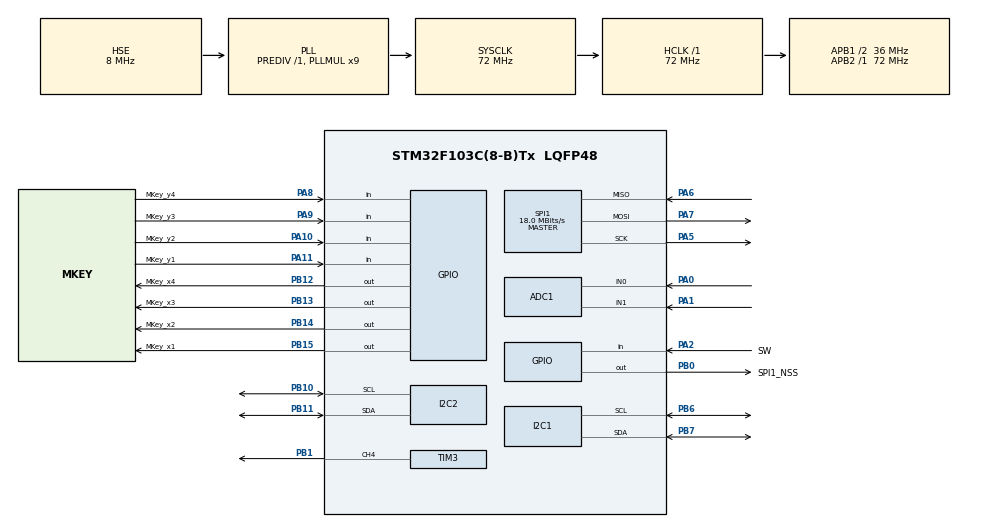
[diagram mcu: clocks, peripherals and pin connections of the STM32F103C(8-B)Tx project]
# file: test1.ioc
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ADC1.Channel-0\#ChannelRegularConversion=ADC_CHANNEL_0
ADC1.Channel-1\#ChannelRegularConversion=ADC_CHANNEL_1
ADC1.ContinuousConvMode=DISABLE
ADC1.NbrOfConversion=2
ADC1.NbrOfConversionFlag=1
ADC1.Rank-0\#ChannelRegularConversion=1
ADC1.Rank-1\#ChannelRegularConversion=2
ADC1.SamplingTime-0\#ChannelRegularConversion=ADC_SAMPLETIME_1CYCLE_5
ADC1.SamplingTime-1\#ChannelRegularConversion=ADC_SAMPLETIME_1CYCLE_5
ADC1.master=1
DMA1.0.Channel=DMA_CHANNEL_1
DMA1.0.Direction=DMA_PERIPH_TO_MEMORY
DMA1.0.FIFOMode=DMA_FIFOMODE_DISABLE
DMA1.0.MemDataAlignment=DMA_MDATAALIGN_WORD
DMA1.0.MemInc=DMA_MINC_ENABLE
DMA1.0.Mode=DMA_NORMAL
DMA1.0.PeriphDataAlignment=DMA_PDATAALIGN_WORD
DMA1.0.PeriphInc=DMA_PINC_DISABLE
DMA1.0.Priority=DMA_PRIORITY_HIGH
FREERTOS.CHECK_FOR_STACK_OVERFLOW=2
FREERTOS.Queues01=cursor,4,6,1,Dynamic,NULL,NULL;Key,1,uint8_t,0,Dynamic,NULL,NULL;LogQueue,8,18,1,Dynamic,NULL,NULL
FREERTOS.Tasks01=LockApp,24,128,StartLockTask,Default,NULL,Dynamic,NULL,NULL;oled,8,192,Oled_Task,Default,NULL,Dynamic,NULL,NULL;Sw_Adc,9,128,Sw_Adc_Task,Default,NULL,Dynamic,NULL,NULL;MKey,9,128,MKey_Task,Default,NULL,Dynamic,NULL,NULL;Log,9,128,Log_Task,Default,NULL,Dynamic,NULL,NULL;App_File,8,128,App_File_Task,Default,NULL,Dynamic,NULL,NULL;MusicPlay,8,128,MusicPlay_Task,Default,NULL,Dynamic,NULL,NULL
FREERTOS.configTOTAL_HEAP_SIZE=6500
FREERTOS.USE_MALLOC_FAILED_HOOK=1
FREERTOS.USE_TICKLESS_IDLE=ENABLE
I2C1.I2C_Mode=I2C_Fast
IWDG.Prescaler=64
IWDG.Reload=1250
Mcu.Family=STM32F1
Mcu.Name=STM32F103C(8-B)Tx
Mcu.Package=LQFP48
NVIC.PriorityGroup=NVIC_PRIORITYGROUP_4
NVIC.TIM4_IRQn=true\:15\:0\:false\:false\:true\:false\:false\:true\:true
NVIC.TimeBase=TIM4_IRQn
NVIC.TimeBaseIP=TIM4
PA0-WKUP.Signal=ADCx_IN0
PA1.Signal=ADCx_IN1
PA10.GPIO_Label=MKey_y2
PA10.GPIO_PuPd=GPIO_PULLUP
PA10.Signal=GPIO_Input
PA11.GPIO_Label=MKey_y1
PA11.GPIO_PuPd=GPIO_PULLUP
PA11.Signal=GPIO_Input
PA13.Mode=Serial_Wire
PA13.Signal=SYS_JTMS-SWDIO
PA14.Mode=Serial_Wire
PA14.Signal=SYS_JTCK-SWCLK
PA2.GPIO_Label=SW
PA2.GPIO_PuPd=GPIO_PULLUP
PA2.Signal=GPIO_Input
PA5.Mode=Full_Duplex_Master
PA5.Signal=SPI1_SCK
PA6.Mode=Full_Duplex_Master
PA6.Signal=SPI1_MISO
PA7.Mode=Full_Duplex_Master
PA7.Signal=SPI1_MOSI
PA8.GPIO_Label=MKey_y4
PA8.GPIO_PuPd=GPIO_PULLUP
PA8.Signal=GPIO_Input
PA9.GPIO_Label=MKey_y3
PA9.GPIO_PuPd=GPIO_PULLUP
PA9.Signal=GPIO_Input
PB0.GPIO_Label=SPI1_NSS
PB0.GPIO_PuPd=GPIO_PULLUP
PB0.PinState=GPIO_PIN_SET
PB0.Signal=GPIO_Output
PB1.Signal=S_TIM3_CH4
PB10.Mode=I2C
PB10.Signal=I2C2_SCL
PB11.Mode=I2C
PB11.Signal=I2C2_SDA
PB12.GPIO_Label=MKey_x4
PB12.PinState=GPIO_PIN_SET
PB12.Signal=GPIO_Output
PB13.GPIO_Label=MKey_x3
PB13.PinState=GPIO_PIN_SET
PB13.Signal=GPIO_Output
PB14.GPIO_Label=MKey_x2
PB14.PinState=GPIO_PIN_SET
PB14.Signal=GPIO_Output
PB15.GPIO_Label=MKey_x1
PB15.PinState=GPIO_PIN_SET
PB15.Signal=GPIO_Output
PB6.Mode=I2C
PB6.Signal=I2C1_SCL
PB7.Mode=I2C
PB7.Signal=I2C1_SDA
PD0-OSC_IN.Mode=HSE-External-Oscillator
PD0-OSC_IN.Signal=RCC_OSC_IN
PD1-OSC_OUT.Mode=HSE-External-Oscillator
PD1-OSC_OUT.Signal=RCC_OSC_OUT
ProjectManager.HeapSize=0x200
ProjectManager.StackSize=0x400
ProjectManager.TargetToolchain=CMake
RCC.ADCPresc=RCC_ADCPCLK2_DIV6
RCC.AHBFreq_Value=72000000
RCC.APB1CLKDivider=RCC_HCLK_DIV2
RCC.APB1Freq_Value=36000000
RCC.APB1TimFreq_Value=72000000
RCC.APB2Freq_Value=72000000
RCC.APB2TimFreq_Value=72000000
RCC.HCLKFreq_Value=72000000
RCC.PLLMUL=RCC_PLL_MUL9
RCC.PLLSourceVirtual=RCC_PLLSOURCE_HSE
RCC.SYSCLKFreq_VALUE=72000000
RCC.SYSCLKSource=RCC_SYSCLKSOURCE_PLLCLK
RCC.USBFreq_Value=72000000
SH.ADCx_IN0.0=ADC1_IN0,IN0
SH.ADCx_IN1.0=ADC1_IN1,IN1
SH.S_TIM3_CH4.0=TIM3_CH4,PWM Generation4 CH4
SPI1.BaudRatePrescaler=SPI_BAUDRATEPRESCALER_4
SPI1.CLKPhase=SPI_PHASE_2EDGE
SPI1.CLKPolarity=SPI_POLARITY_HIGH
SPI1.CalculateBaudRate=18.0 MBits/s
SPI1.Direction=SPI_DIRECTION_2LINES
SPI1.Mode=SPI_MODE_MASTER
SPI1.VirtualType=VM_MASTER
TIM3.AutoReloadPreload=TIM_AUTORELOAD_PRELOAD_ENABLE
TIM3.Channel-PWM\ Generation4\ CH4=TIM_CHANNEL_4
TIM3.Period=3816
TIM3.Prescaler=71
TIM3.Pulse-PWM\ Generation4\ CH4=1908
VP_FREERTOS_VS_CMSIS_V2.Mode=CMSIS_V2
VP_SYS_VS_tim4.Mode=TIM4
VP_TIM3_VS_ClockSourceINT.Mode=Internal
board=custom

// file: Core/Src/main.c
/* USER CODE BEGIN Header */
/**
  ******************************************************************************
  * @file           : main.c
  * @brief          : Main program body
  ******************************************************************************
  * @attention
  *
  * Copyright (c) 2026 STMicroelectronics.
  * All rights reserved.
  *
  * This software is licensed under terms that can be found in the LICENSE file
  * in the root directory of this software component.
  * If no LICENSE file comes with this software, it is provided AS-IS.
  *
  ******************************************************************************
  */
/* USER CODE END Header */
#include "main.h"
#include "cmsis_os.h"

/* USER CODE BEGIN Includes */
#include "oled.h"
#include "adc.h"
#include <stdint.h>
#include "Oled_App.h"
#include "Sw_Adc_App.h"
#include "MKey_App.h"
#include "File_App.h"
#include "Music_App.h"
#include "Set_App.h"
#include "Screen_App.h"
#include "Log_App.h"
#include "DS3231.h"

/* USER CODE END Includes */

/* USER CODE BEGIN PTD */
const osThreadAttr_t Watchdog_attributes = {
  .name = "Watchdog",
  .stack_size = 128 * 4,
  .priority = (osPriority_t) osPriorityAboveNormal,
};

/* USER CODE END PTD */

ADC_HandleTypeDef hadc1;
DMA_HandleTypeDef hdma_adc1;

I2C_HandleTypeDef hi2c1;
I2C_HandleTypeDef hi2c2;

SPI_HandleTypeDef hspi1;

TIM_HandleTypeDef htim3;

/* Definitions for LockApp */
osThreadId_t LockTaskHandle;
const osThreadAttr_t LockTask_attributes = {
  .name = "LockApp",
  .stack_size = 128 * 4,
  .priority = (osPriority_t) osPriorityNormal,
};
/* Definitions for oled */
osThreadId_t oledHandle;
const osThreadAttr_t oled_attributes = {
  .name = "oled",
  .stack_size = 192 * 4,
  .priority = (osPriority_t) osPriorityLow,
};
/* Definitions for Sw_Adc */
osThreadId_t Sw_AdcHandle;
const osThreadAttr_t Sw_Adc_attributes = {
  .name = "Sw_Adc",
  .stack_size = 128 * 4,
  .priority = (osPriority_t) osPriorityLow1,
};
/* Definitions for MKey */
osThreadId_t MKeyHandle;
const osThreadAttr_t MKey_attributes = {
  .name = "MKey",
  .stack_size = 128 * 4,
  .priority = (osPriority_t) osPriorityLow1,
};
/* Definitions for Log */
osThreadId_t LogHandle;
const osThreadAttr_t Log_attributes = {
  .name = "Log",
  .stack_size = 128 * 4,
  .priority = (osPriority_t) osPriorityLow1,
};
/* Definitions for App_File */
osThreadId_t App_FileHandle;
const osThreadAttr_t App_File_attributes = {
  .name = "App_File",
  .stack_size = 128 * 4,
  .priority = (osPriority_t) osPriorityLow,
};
/* Definitions for MusicPlay */
osThreadId_t MusicPlayHandle;
const osThreadAttr_t MusicPlay_attributes = {
  .name = "MusicPlay",
  .stack_size = 128 * 4,
  .priority = (osPriority_t) osPriorityLow,
};
/* Definitions for cursor */
osMessageQueueId_t cursorHandle;
const osMessageQueueAttr_t cursor_attributes = {
  .name = "cursor"
};
/* Definitions for Key */
osMessageQueueId_t KeyHandle;
const osMessageQueueAttr_t Key_attributes = {
  .name = "Key"
};
/* Definitions for LogQueue */
osMessageQueueId_t LogQueueHandle;
const osMessageQueueAttr_t LogQueue_attributes = {
  .name = "LogQueue"
};
/* USER CODE BEGIN PV */
osThreadId_t WatchdogHandle;
/* USER CODE END PV */

void SystemClock_Config(void);
static void MX_GPIO_Init(void);
static void MX_ADC1_Init(void);
static void MX_DMA_Init(void);
static void MX_I2C1_Init(void);
static void MX_SPI1_Init(void);
static void MX_TIM3_Init(void);
static void MX_I2C2_Init(void);
void StartLockTask(void *argument);
void Oled_Task(void *argument);
void Sw_Adc_Task(void *argument);
void MKey_Task(void *argument);
void Log_Task(void *argument);
void App_File_Task(void *argument);
void MusicPlay_Task(void *argument);

/* USER CODE BEGIN PFP */
void Watchdog_Task(void *argument);
/* USER CODE END PFP */

int main(void)
{

  /* MCU Configuration--------------------------------------------------------*/

  /* Reset of all peripherals, Initializes the Flash interface and the Systick. */
  HAL_Init();

  /* Configure the system clock */
  SystemClock_Config();

  /* Initialize all configured peripherals */
  MX_GPIO_Init();
  MX_DMA_Init();
  MX_ADC1_Init();
  MX_I2C1_Init();
  MX_SPI1_Init();
  MX_TIM3_Init();
  MX_I2C2_Init();
  /* USER CODE BEGIN 2 */
  DS3231_Init();
  Set_Sys_Load();
  OLED_Init();
  Set_Sys_ApplyBrightness();
  Set_Sys_ApplyVolume();
  Screen_Sys_Init();

  /* USER CODE END 2 */

  /* Init scheduler */
  osKernelInitialize();

  /* Create the queue(s) */
  /* creation of cursor */
  cursorHandle = osMessageQueueNew (4, 6, &cursor_attributes);

  /* creation of Key */
  KeyHandle = osMessageQueueNew (1, sizeof(uint8_t), &Key_attributes);

  /* creation of LogQueue */
  LogQueueHandle = osMessageQueueNew (8, 18, &LogQueue_attributes);

  /* Create the thread(s) */
  /* creation of LockApp */
  LockTaskHandle = osThreadNew(StartLockTask, NULL, &LockTask_attributes);

  /* creation of oled */
  oledHandle = osThreadNew(Oled_Task, NULL, &oled_attributes);

  /* creation of Sw_Adc */
  Sw_AdcHandle = osThreadNew(Sw_Adc_Task, NULL, &Sw_Adc_attributes);

  /* creation of MKey */
  MKeyHandle = osThreadNew(MKey_Task, NULL, &MKey_attributes);

  /* creation of Log */
  LogHandle = osThreadNew(Log_Task, NULL, &Log_attributes);

  /* creation of App_File */
  App_FileHandle = osThreadNew(App_File_Task, NULL, &App_File_attributes);

  /* creation of MusicPlay */
  MusicPlayHandle = osThreadNew(MusicPlay_Task, NULL, &MusicPlay_attributes);

  /* USER CODE BEGIN RTOS_THREADS */
  /* creation of Watchdog */
  WatchdogHandle = osThreadNew(Watchdog_Task, NULL, &Watchdog_attributes);
  /* USER CODE END RTOS_THREADS */

  /* Start scheduler */
  osKernelStart();

  /* We should never get here as control is now taken by the scheduler */

  /* Infinite loop */
  while (1)
  {

  }
}

void SystemClock_Config(void)
{
  RCC_OscInitTypeDef RCC_OscInitStruct = {0};
  RCC_ClkInitTypeDef RCC_ClkInitStruct = {0};
  RCC_PeriphCLKInitTypeDef PeriphClkInit = {0};

  /** Initializes the RCC Oscillators according to the specified parameters
  * in the RCC_OscInitTypeDef structure.
  */
  RCC_OscInitStruct.OscillatorType = RCC_OSCILLATORTYPE_HSE;
  RCC_OscInitStruct.HSEState = RCC_HSE_ON;
  RCC_OscInitStruct.HSEPredivValue = RCC_HSE_PREDIV_DIV1;
  RCC_OscInitStruct.HSIState = RCC_HSI_ON;
  RCC_OscInitStruct.PLL.PLLState = RCC_PLL_ON;
  RCC_OscInitStruct.PLL.PLLSource = RCC_PLLSOURCE_HSE;
  RCC_OscInitStruct.PLL.PLLMUL = RCC_PLL_MUL9;
  if (HAL_RCC_OscConfig(&RCC_OscInitStruct) != HAL_OK)
  {
    Error_Handler();
  }

  /** Initializes the CPU, AHB and APB buses clocks
  */
  RCC_ClkInitStruct.ClockType = RCC_CLOCKTYPE_HCLK|RCC_CLOCKTYPE_SYSCLK
                              |RCC_CLOCKTYPE_PCLK1|RCC_CLOCKTYPE_PCLK2;
  RCC_ClkInitStruct.SYSCLKSource = RCC_SYSCLKSOURCE_PLLCLK;
  RCC_ClkInitStruct.AHBCLKDivider = RCC_SYSCLK_DIV1;
  RCC_ClkInitStruct.APB1CLKDivider = RCC_HCLK_DIV2;
  RCC_ClkInitStruct.APB2CLKDivider = RCC_HCLK_DIV1;

  if (HAL_RCC_ClockConfig(&RCC_ClkInitStruct, FLASH_LATENCY_2) != HAL_OK)
  {
    Error_Handler();
  }
  PeriphClkInit.PeriphClockSelection = RCC_PERIPHCLK_ADC;
  PeriphClkInit.AdcClockSelection = RCC_ADCPCLK2_DIV6;
  if (HAL_RCCEx_PeriphCLKConfig(&PeriphClkInit) != HAL_OK)
  {
    Error_Handler();
  }
}

static void MX_ADC1_Init(void)
{

  ADC_ChannelConfTypeDef sConfig = {0};

  /** Common config
  */
  hadc1.Instance = ADC1;
  hadc1.Init.ScanConvMode = ADC_SCAN_ENABLE;
  hadc1.Init.ContinuousConvMode = DISABLE;
  hadc1.Init.DiscontinuousConvMode = DISABLE;
  hadc1.Init.ExternalTrigConv = ADC_SOFTWARE_START;
  hadc1.Init.DataAlign = ADC_DATAALIGN_RIGHT;
  hadc1.Init.NbrOfConversion = 2;
  if (HAL_ADC_Init(&hadc1) != HAL_OK)
  {
    Error_Handler();
  }

  /** Configure Regular Channel
  */
  sConfig.Channel = ADC_CHANNEL_0;
  sConfig.Rank = ADC_REGULAR_RANK_1;
  sConfig.SamplingTime = ADC_SAMPLETIME_1CYCLE_5;
  if (HAL_ADC_ConfigChannel(&hadc1, &sConfig) != HAL_OK)
  {
    Error_Handler();
  }

  /** Configure Regular Channel
  */
  sConfig.Channel = ADC_CHANNEL_1;
  sConfig.Rank = ADC_REGULAR_RANK_2;
  if (HAL_ADC_ConfigChannel(&hadc1, &sConfig) != HAL_OK)
  {
    Error_Handler();
  }

}

static void MX_DMA_Init(void)
{
  /* DMA controller clock enable */
  __HAL_RCC_DMA1_CLK_ENABLE();

  /* DMA interrupt init */
  /* DMA1_Channel1_IRQn interrupt configuration */
  HAL_NVIC_SetPriority(DMA1_Channel1_IRQn, 0, 0);
  HAL_NVIC_EnableIRQ(DMA1_Channel1_IRQn);
}

static void MX_I2C1_Init(void)
{

  hi2c1.Instance = I2C1;
  hi2c1.Init.ClockSpeed = 400000;
  hi2c1.Init.DutyCycle = I2C_DUTYCYCLE_2;
  hi2c1.Init.OwnAddress1 = 0;
  hi2c1.Init.AddressingMode = I2C_ADDRESSINGMODE_7BIT;
  hi2c1.Init.DualAddressMode = I2C_DUALADDRESS_DISABLE;
  hi2c1.Init.OwnAddress2 = 0;
  hi2c1.Init.GeneralCallMode = I2C_GENERALCALL_DISABLE;
  hi2c1.Init.NoStretchMode = I2C_NOSTRETCH_DISABLE;
  if (HAL_I2C_Init(&hi2c1) != HAL_OK)
  {
    Error_Handler();
  }

}

static void MX_I2C2_Init(void)
{

  hi2c2.Instance = I2C2;
  hi2c2.Init.ClockSpeed = 100000;
  hi2c2.Init.DutyCycle = I2C_DUTYCYCLE_2;
  hi2c2.Init.OwnAddress1 = 0;
  hi2c2.Init.AddressingMode = I2C_ADDRESSINGMODE_7BIT;
  hi2c2.Init.DualAddressMode = I2C_DUALADDRESS_DISABLE;
  hi2c2.Init.OwnAddress2 = 0;
  hi2c2.Init.GeneralCallMode = I2C_GENERALCALL_DISABLE;
  hi2c2.Init.NoStretchMode = I2C_NOSTRETCH_DISABLE;
  if (HAL_I2C_Init(&hi2c2) != HAL_OK)
  {
    Error_Handler();
  }

}

static void MX_SPI1_Init(void)
{

  /* SPI1 parameter configuration*/
  hspi1.Instance = SPI1;
  hspi1.Init.Mode = SPI_MODE_MASTER;
  hspi1.Init.Direction = SPI_DIRECTION_2LINES;
  hspi1.Init.DataSize = SPI_DATASIZE_8BIT;
  hspi1.Init.CLKPolarity = SPI_POLARITY_HIGH;
  hspi1.Init.CLKPhase = SPI_PHASE_2EDGE;
  hspi1.Init.NSS = SPI_NSS_SOFT;
  hspi1.Init.BaudRatePrescaler = SPI_BAUDRATEPRESCALER_4;
  hspi1.Init.FirstBit = SPI_FIRSTBIT_MSB;
  hspi1.Init.TIMode = SPI_TIMODE_DISABLE;
  hspi1.Init.CRCCalculation = SPI_CRCCALCULATION_DISABLE;
  hspi1.Init.CRCPolynomial = 10;
  if (HAL_SPI_Init(&hspi1) != HAL_OK)
  {
    Error_Handler();
  }

}

static void MX_TIM3_Init(void)
{

  TIM_ClockConfigTypeDef sClockSourceConfig = {0};
  TIM_MasterConfigTypeDef sMasterConfig = {0};
  TIM_OC_InitTypeDef sConfigOC = {0};

  htim3.Instance = TIM3;
  htim3.Init.Prescaler = 71;
  htim3.Init.CounterMode = TIM_COUNTERMODE_UP;
  htim3.Init.Period = 3816;
  htim3.Init.ClockDivision = TIM_CLOCKDIVISION_DIV1;
  htim3.Init.AutoReloadPreload = TIM_AUTORELOAD_PRELOAD_ENABLE;
  if (HAL_TIM_Base_Init(&htim3) != HAL_OK)
  {
    Error_Handler();
  }
  sClockSourceConfig.ClockSource = TIM_CLOCKSOURCE_INTERNAL;
  if (HAL_TIM_ConfigClockSource(&htim3, &sClockSourceConfig) != HAL_OK)
  {
    Error_Handler();
  }
  if (HAL_TIM_PWM_Init(&htim3) != HAL_OK)
  {
    Error_Handler();
  }
  sMasterConfig.MasterOutputTrigger = TIM_TRGO_RESET;
  sMasterConfig.MasterSlaveMode = TIM_MASTERSLAVEMODE_DISABLE;
  if (HAL_TIMEx_MasterConfigSynchronization(&htim3, &sMasterConfig) != HAL_OK)
  {
    Error_Handler();
  }
  sConfigOC.OCMode = TIM_OCMODE_PWM1;
  sConfigOC.Pulse = 1908;
  sConfigOC.OCPolarity = TIM_OCPOLARITY_HIGH;
  sConfigOC.OCFastMode = TIM_OCFAST_DISABLE;
  if (HAL_TIM_PWM_ConfigChannel(&htim3, &sConfigOC, TIM_CHANNEL_4) != HAL_OK)
  {
    Error_Handler();
  }
  HAL_TIM_MspPostInit(&htim3);

}

static void MX_GPIO_Init(void)
{
  GPIO_InitTypeDef GPIO_InitStruct = {0};

  /* GPIO Ports Clock Enable */
  __HAL_RCC_GPIOD_CLK_ENABLE();
  __HAL_RCC_GPIOA_CLK_ENABLE();
  __HAL_RCC_GPIOB_CLK_ENABLE();

  /*Configure GPIO pin Output Level */
  HAL_GPIO_WritePin(GPIOB, SPI1_NSS_Pin|MKey_x4_Pin|MKey_x3_Pin|MKey_x2_Pin
                          |MKey_x1_Pin, GPIO_PIN_SET);

  /*Configure GPIO pins : SW_Pin MKey_y4_Pin MKey_y3_Pin MKey_y2_Pin
                           MKey_y1_Pin */
  GPIO_InitStruct.Pin = SW_Pin|MKey_y4_Pin|MKey_y3_Pin|MKey_y2_Pin
                          |MKey_y1_Pin;
  GPIO_InitStruct.Mode = GPIO_MODE_INPUT;
  GPIO_InitStruct.Pull = GPIO_PULLUP;
  HAL_GPIO_Init(GPIOA, &GPIO_InitStruct);

  /*Configure GPIO pin : SPI1_NSS_Pin */
  GPIO_InitStruct.Pin = SPI1_NSS_Pin;
  GPIO_InitStruct.Mode = GPIO_MODE_OUTPUT_PP;
  GPIO_InitStruct.Pull = GPIO_PULLUP;
  GPIO_InitStruct.Speed = GPIO_SPEED_FREQ_LOW;
  HAL_GPIO_Init(SPI1_NSS_GPIO_Port, &GPIO_InitStruct);

  /*Configure GPIO pins : MKey_x4_Pin MKey_x3_Pin MKey_x2_Pin MKey_x1_Pin */
  GPIO_InitStruct.Pin = MKey_x4_Pin|MKey_x3_Pin|MKey_x2_Pin|MKey_x1_Pin;
  GPIO_InitStruct.Mode = GPIO_MODE_OUTPUT_PP;
  GPIO_InitStruct.Pull = GPIO_NOPULL;
  GPIO_InitStruct.Speed = GPIO_SPEED_FREQ_LOW;
  HAL_GPIO_Init(GPIOB, &GPIO_InitStruct);

}

void StartLockTask(void *argument)
{
  /* USER CODE BEGIN 5 */
  Screen_Lock_Task_Sys();
  /* USER CODE END 5 */
}

void Oled_Task(void *argument)
{
  /* USER CODE BEGIN Oled_Task */
  Oled_Task_Sys();
  /* USER CODE END Oled_Task */
}

void Sw_Adc_Task(void *argument)
{
  /* USER CODE BEGIN Sw_Adc_Task */
  Sw_Adc_Task_Sys();
  /* USER CODE END Sw_Adc_Task */
}

void MKey_Task(void *argument)
{
  /* USER CODE BEGIN MKey_Task */
  MKey_Task_Sys();
  /* USER CODE END MKey_Task */
}

void Log_Task(void *argument)
{
  /* USER CODE BEGIN Log_Task */
  Log_Task_Sys();
  /* USER CODE END Log_Task */
}

void App_File_Task(void *argument)
{
  /* USER CODE BEGIN App_File_Task */
  App_File_Task_Sys();
  /* USER CODE END App_File_Task */
}

void MusicPlay_Task(void *argument)
{
  /* USER CODE BEGIN MusicPlay_Task */
  Music_Play_Task_Sys();
  /* USER CODE END MusicPlay_Task */
}

void HAL_TIM_PeriodElapsedCallback(TIM_HandleTypeDef *htim)
{
  if (htim->Instance == TIM4)
  {
    HAL_IncTick();
  }
}

void Error_Handler(void)
{
  __disable_irq();
  while (1)
  {
  }
}
